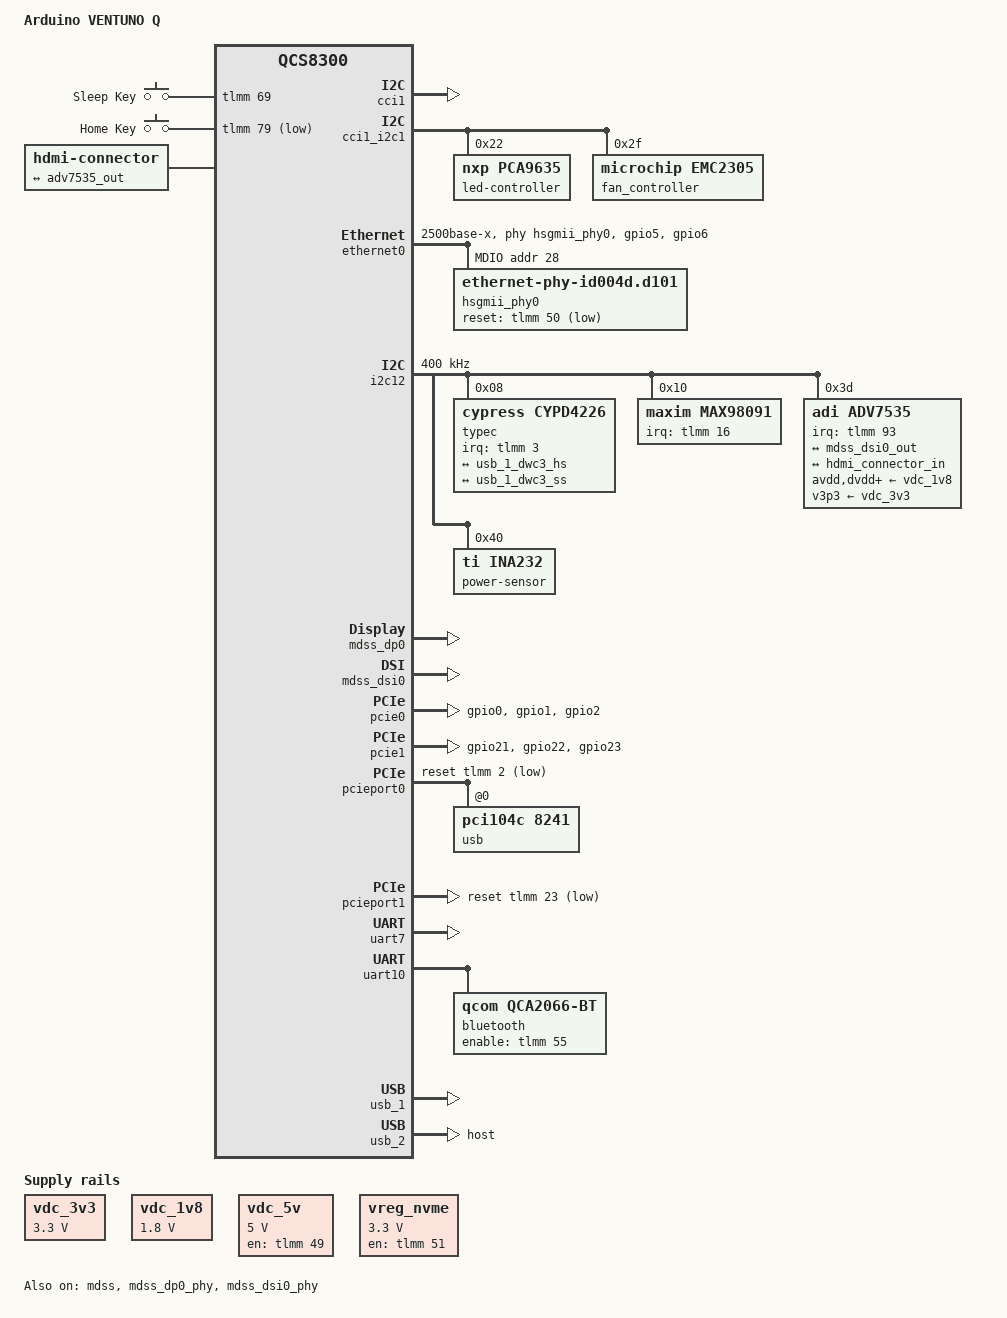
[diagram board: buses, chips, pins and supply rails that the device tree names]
// SPDX-License-Identifier: BSD-3-Clause
/*
 * Copyright (c) Qualcomm Technologies, Inc. and/or its subsidiaries.
 */

/dts-v1/;

#include <dt-bindings/gpio/gpio.h>
#include <dt-bindings/input/input.h>
#include <dt-bindings/leds/common.h>
#include <dt-bindings/pwm/pwm.h>
#include <dt-bindings/sound/qcom,q6dsp-lpass-ports.h>

#include "monaco-monza-som.dtsi"

/ {
	model = "Arduino VENTUNO Q";
	compatible = "arduino,monza", "qcom,qcs8300";

	aliases {
		ethernet0 = &ethernet0;
		i2c1 = &i2c1;
		serial0 = &uart7;
		serial1 = &uart10;
	};

	chosen {
		stdout-path = "serial0:115200n8";
	};

	gpio-keys {
		compatible = "gpio-keys";
		pinctrl-0 = <&gpio_keys_default>;
		pinctrl-names = "default";

		button-sleep {
			label = "Sleep Key";
			linux,code = <KEY_SLEEP>;
			gpios = <&tlmm 69 GPIO_ACTIVE_HIGH>;
			debounce-interval = <60>;
			wakeup-source;
		};

		button-home {
			label = "Home Key";
			linux,code = <KEY_HOMEPAGE>;
			gpios = <&tlmm 79 GPIO_ACTIVE_LOW>;
			debounce-interval = <60>;
		};
	};

	hdmi-connector {
		compatible = "hdmi-connector";
		label = "hdmi";
		type = "a";

		port {
			hdmi_connector_in: endpoint {
				remote-endpoint = <&adv7535_out>;
			};
		};
	};

	sound {
		compatible = "qcom,qcs8275-sndcard";
		model = "arduino-monza";
		audio-routing = "IN12",  "Headset Mic12",
				"Headset Mic12",  "MICBIAS",
				"IN56",  "Headset Mic56",
				"Headset Mic56",  "MICBIAS",
				"MIC1",  "MICBIAS",
				"Headphone",  "HPL",
				"Headphone",  "HPR",
				"Receiver",  "RCVL",
				"Receiver",  "RCVR",
				"Speaker",  "SPKL",
				"Speaker",  "SPKR";

		pinctrl-0 = <&quad_mi2s_active>, <&quad_mclk_active>,  <&lpi_i2s4_active>;
		pinctrl-names = "default";

		pri-i2s-playback-dai-link {
			link-name = "Analog Playback";

			codec {
				sound-dai = <&max98091>;
			};

			cpu {
				sound-dai = <&q6apmbedai 137>;
			};

			platform {
				sound-dai = <&q6apm>;
			};
		};

		pri-i2s-capture-dai-link {
			link-name = "Analog Capture";

			codec {
				sound-dai = <&max98091>;
			};

			cpu {
				sound-dai = <&q6apmbedai 138>;
			};

			platform {
				sound-dai = <&q6apm>;
			};
		};

		hdmi-mi2s-playback-dai-link {
			link-name = "HDMI Playback";

			codec {
				sound-dai = <&adv7535>;
			};

			cpu {
				sound-dai = <&q6apmbedai 145>;
			};

			platform {
				sound-dai = <&q6apm>;
			};
		};

		displayport-0-dai-link {
			link-name = "DisplayPort0 Playback";

			codec {
				sound-dai = <&mdss_dp0>;
			};

			cpu {
				sound-dai = <&q6apmbedai DISPLAY_PORT_RX_0>;
			};

			platform {
				sound-dai = <&q6apm>;
			};
		};
	};

	vdc_3v3: regulator-3v3 {
		compatible = "regulator-fixed";
		regulator-name = "vdc_3v3";
		regulator-min-microvolt = <3300000>;
		regulator-max-microvolt = <3300000>;
	};

	vdc_1v8: regulator-1v8 {
		compatible = "regulator-fixed";
		regulator-name = "vdc_1v8";
		regulator-min-microvolt = <1800000>;
		regulator-max-microvolt = <1800000>;
	};

	vdc_5v: regulator-5v0 {
		compatible = "regulator-fixed";
		regulator-name = "vdc_5v";
		regulator-min-microvolt = <5000000>;
		regulator-max-microvolt = <5000000>;
		gpio = <&tlmm 49 GPIO_ACTIVE_HIGH>;
		enable-active-high;
		regulator-always-on;
		startup-delay-us = <20000>;
	};

	vreg_nvme: regulator-3p3-m2 {
		compatible = "regulator-fixed";
		regulator-name = "vreg_m2_3p3";
		regulator-min-microvolt = <3300000>;
		regulator-max-microvolt = <3300000>;
		gpio = <&tlmm 51 GPIO_ACTIVE_HIGH>;
		enable-active-high;
		startup-delay-us = <20000>;
	};
};

&cci1 {
	status = "okay";
};

&cci1_i2c1 {
	led-controller@22 {
		compatible = "nxp,pca9635";
		reg = <0x22>;
		#address-cells = <1>;
		#size-cells = <0>;

		multi-led@0 {
			reg = <0>;
			color = <LED_COLOR_ID_RGB>;
			function = LED_FUNCTION_INDICATOR;
			function-enumerator = <1>;
			#address-cells = <1>;
			#size-cells = <0>;

			led@0 {
				reg = <0>;
				color = <LED_COLOR_ID_RED>;
			};

			led@1 {
				reg = <1>;
				color = <LED_COLOR_ID_GREEN>;
			};

			led@2 {
				reg = <2>;
				color = <LED_COLOR_ID_BLUE>;
			};
		};

		multi-led@1 {
			reg = <1>;
			color = <LED_COLOR_ID_RGB>;
			function = LED_FUNCTION_INDICATOR;
			function-enumerator = <2>;
			#address-cells = <1>;
			#size-cells = <0>;

			led@3 {
				reg = <3>;
				color = <LED_COLOR_ID_RED>;
			};

			led@4 {
				reg = <4>;
				color = <LED_COLOR_ID_GREEN>;
			};

			led@5 {
				reg = <5>;
				color = <LED_COLOR_ID_BLUE>;
			};
		};

		multi-led@2 {
			reg = <2>;
			color = <LED_COLOR_ID_RGB>;
			function = LED_FUNCTION_INDICATOR;
			function-enumerator = <3>;
			#address-cells = <1>;
			#size-cells = <0>;

			led@6 {
				reg = <6>;
				color = <LED_COLOR_ID_RED>;
			};

			led@7 {
				reg = <7>;
				color = <LED_COLOR_ID_GREEN>;
			};

			led@8 {
				reg = <8>;
				color = <LED_COLOR_ID_BLUE>;
			};
		};

		multi-led@3 {
			reg = <3>;
			color = <LED_COLOR_ID_RGB>;
			function = LED_FUNCTION_INDICATOR;
			function-enumerator = <4>;
			#address-cells = <1>;
			#size-cells = <0>;

			led@9 {
				reg = <9>;
				color = <LED_COLOR_ID_RED>;
			};

			led@a {
				reg = <10>;
				color = <LED_COLOR_ID_GREEN>;
			};

			led@b {
				reg = <11>;
				color = <LED_COLOR_ID_BLUE>;
			};
		};
	};

	fan_controller: fan-controller@2f {
		compatible = "microchip,emc2305";
		reg = <0x2f>;
		#address-cells = <1>;
		#size-cells = <0>;
		#pwm-cells = <3>;

		fan: fan@0 {
			reg = <0x0>;
			pwms = <&fan_controller 26000 PWM_POLARITY_INVERTED 1>;
			#cooling-cells = <2>;
		};
	};
};

&ethernet0 {
	phy-mode = "2500base-x";
	phy-handle = <&hsgmii_phy0>;

	pinctrl-0 = <&ethernet0_default>;
	pinctrl-names = "default";

	snps,mtl-rx-config = <&mtl_rx_setup>;
	snps,mtl-tx-config = <&mtl_tx_setup>;

	status = "okay";

	mdio {
		compatible = "snps,dwmac-mdio";
		#address-cells = <1>;
		#size-cells = <0>;

		hsgmii_phy0: ethernet-phy@1c {
			compatible = "ethernet-phy-id004d.d101";
			reg = <0x1c>;
			reset-gpios = <&tlmm 50 GPIO_ACTIVE_LOW>;
			reset-assert-us = <11000>;
			reset-deassert-us = <70000>;
		};
	};

	mtl_rx_setup: rx-queues-config {
		snps,rx-queues-to-use = <4>;
		snps,rx-sched-sp;

		queue0 {
			snps,dcb-algorithm;
			snps,map-to-dma-channel = <0x0>;
			snps,route-up;
			snps,priority = <0x1>;
		};

		queue1 {
			snps,dcb-algorithm;
			snps,map-to-dma-channel = <0x1>;
			snps,route-ptp;
		};

		queue2 {
			snps,avb-algorithm;
			snps,map-to-dma-channel = <0x2>;
			snps,route-avcp;
		};

		queue3 {
			snps,avb-algorithm;
			snps,map-to-dma-channel = <0x3>;
			snps,priority = <0xc>;
		};
	};

	mtl_tx_setup: tx-queues-config {
		snps,tx-queues-to-use = <4>;

		queue0 {
			snps,dcb-algorithm;
		};

		queue1 {
			snps,dcb-algorithm;
		};

		queue2 {
			snps,avb-algorithm;
			snps,send_slope = <0x1000>;
			snps,idle_slope = <0x1000>;
			snps,high_credit = <0x3e800>;
			snps,low_credit = <0xffc18000>;
		};

		queue3 {
			snps,avb-algorithm;
			snps,send_slope = <0x1000>;
			snps,idle_slope = <0x1000>;
			snps,high_credit = <0x3e800>;
			snps,low_credit = <0xffc18000>;
		};
	};
};

&i2c12 {
	clock-frequency = <400000>;

	status = "okay";

	typec@8 {
		compatible = "cypress,cypd4226";
		reg = <0x08>;
		pinctrl-0 = <&typec_default_state>;
		pinctrl-names = "default";
		interrupts-extended = <&tlmm 3 IRQ_TYPE_LEVEL_LOW>;

		#address-cells = <1>;
		#size-cells = <0>;

		connector@0 {
			compatible = "usb-c-connector";
			reg = <0>;
			label = "USB-C";
			data-role = "dual";
			power-role = "dual";

			ports {
				#address-cells = <1>;
				#size-cells = <0>;

				port@0 {
					reg = <0>;

					ucsi_hs_ccg_p0: endpoint {
						remote-endpoint = <&usb_1_dwc3_hs>;
					};
				};

				port@1 {
					reg = <1>;

					ucsi_ss_ccg_p0: endpoint {
						remote-endpoint = <&usb_1_dwc3_ss>;
					};
				};
			};
		};
	};

	max98091: audio-codec@10 {
		compatible = "maxim,max98091";
		reg = <0x10>;
		pinctrl-0 = <&max98091_default>;
		pinctrl-names = "default";
		interrupts-extended = <&tlmm 16 IRQ_TYPE_LEVEL_HIGH>; /* GPIO_16 */
		clocks = <&q6prmcc LPASS_CLK_ID_MCLK_3 LPASS_CLK_ATTRIBUTE_COUPLE_NO>;
		clock-names = "mclk";
		#sound-dai-cells = <0>;
	};

	adv7535: bridge@3d {
		compatible = "adi,adv7535";
		reg = <0x3d>;
		pinctrl-0 = <&adv7535_default>;
		pinctrl-names = "default";
		interrupts-extended = <&tlmm 93 IRQ_TYPE_EDGE_FALLING>;
		avdd-supply = <&vdc_1v8>;
		dvdd-supply = <&vdc_1v8>;
		pvdd-supply = <&vdc_1v8>;
		a2vdd-supply = <&vdc_1v8>;
		v3p3-supply = <&vdc_3v3>;
		v1p2-supply = <&vdc_1v8>;
		adi,dsi-lanes = <4>;
		#sound-dai-cells = <0>;

		ports {
			#address-cells = <1>;
			#size-cells = <0>;

			port@0 {
				reg = <0>;
				adv7535_in: endpoint {
					remote-endpoint = <&mdss_dsi0_out>;
				};
			};

			port@1 {
				reg = <1>;
				adv7535_out: endpoint {
					remote-endpoint = <&hdmi_connector_in>;
				};
			};
		};
	};

	power-sensor@40 {
		compatible = "ti,ina232";
		reg = <0x40>;
		shunt-resistor = <2000>;
	};
};

&mdss {
	status = "okay";
};

&mdss_dp0 {
	status = "okay";
};

&mdss_dp0_out {
	data-lanes = <0 1 2 3>;
	link-frequencies = /bits/ 64 <1620000000 2700000000 5400000000 8100000000>;
};

&mdss_dp0_phy {
	status = "okay";
};

&mdss_dsi0 {
	status = "okay";
};

&mdss_dsi0_out {
	remote-endpoint = <&adv7535_in>;
	data-lanes = <0 1 2 3>;
};

&mdss_dsi0_phy {
	status = "okay";
};

&pcie0 {
	pinctrl-0 = <&pcie0_default_state>;
	pinctrl-names = "default";

	vddpe-3v3-supply = <&vdc_3v3>;
};

&pcie1 {
	pinctrl-0 = <&pcie1_default_state>;
	pinctrl-names = "default";

	vddpe-3v3-supply = <&vreg_nvme>;
};

&pcieport0 {
	reset-gpios = <&tlmm 2 GPIO_ACTIVE_LOW>;

	pcie@0,0 {
		#address-cells = <3>;
		#size-cells = <2>;
		device_type = "pci";
		bus-range = <0x01 0xff>;
		ranges;
		reg = <0x010000 0x00 0x00 0x00 0x00>;

		pcie@2,0 {
			#address-cells = <3>;
			#size-cells = <2>;
			device_type = "pci";
			bus-range = <0x00 0xff>;
			ranges;
			reg = <0x021000 0x00 0x00 0x00 0x00>;

			usb@0 {
				compatible = "pci104c,8241";
				reg = <0 0 0 0 0>;
				ti,pwron-active-high;
			};
		};
	};
};

&pcieport1 {
	reset-gpios = <&tlmm 23 GPIO_ACTIVE_LOW>;
};

&thermal_zones {
	cpuss-0-0-thermal {
		trips {
			cpuss0_active0: cpuss-active0 {
				temperature = <50000>;
				hysteresis = <4000>;
				type = "active";
			};

			cpuss0_active1: cpuss-active1 {
				temperature = <60000>;
				hysteresis = <4000>;
				type = "active";
			};

			cpuss0_active2: cpuss-active2 {
				temperature = <70000>;
				hysteresis = <4000>;
				type = "active";
			};

			cpuss0_active3: cpuss-active3 {
				temperature = <80000>;
				hysteresis = <4000>;
				type = "active";
			};
		};

		cooling-maps {
			map-active0 {
				trip = <&cpuss0_active0>;
				cooling-device = <&fan 4 4>;
			};

			map-active1 {
				trip = <&cpuss0_active1>;
				cooling-device = <&fan 6 6>;
			};

			map-active2 {
				trip = <&cpuss0_active2>;
				cooling-device = <&fan 8 8>;
			};

			map-active3 {
				trip = <&cpuss0_active3>;
				cooling-device = <&fan 10 THERMAL_NO_LIMIT>;
			};
		};
	};
};

&tlmm {
	gpio-line-names = "", "", "", "", "",
			  "", "", "", "", "",
			  "JMISC_SPI_MISO", "JMISC_SPI_MOSI", "JMISC_SPI_SCK", "JMISC_SPI_CS0", "JMISC_SPI_CS1",
			  "JMISC_CS2", "", "JHAT_P03_I2C_SDA", "JHAT_P05_I2C_SCL", "JHAT_P27_EEPROM_SDA",
			  "JHAT_P28_EEPROM_SDL", "", "", "", "",
			  "JHAT_P21_SPI_MISO", "JHAT_P19_SPI_MOSI", "JHAT_P23_SPI_SCLK", "JHAT_P24_SPI_CE0", "",
			  "", "MCU_I2C1_SDA", "MCU_I2C1_SDL", "", "",
			  "", "", "JOMEGA_SPI_SCK", "JOMEGA_SPI_CS", "JOMEGA_SPI_MISO",
			  "JOMEGA_SPI_MOSI", "", "MCU_PG11", "JCTL_UART_DBG_TX", "JCTL_UART_DBG_RX",
			  "", "", "MCU_BOOT0", "CYPD_SWCLK", "",
			  "", "", "FORCE_USB_BOOT", "", "",
			  "", "", "JMEDIA_SOC_CC0_SDA", "JMEDIA_SOC_CC0_SCL", "JMEDIA_SOC_CC1_SDA",
			  "JMEDIA_SOC_CC1_SCL", "", "", "MCU_PG12", "",
			  "FLAT0_P17_GPIO", "", "JMEDIA_SOC_CAM_MCLK0", "JMEDIA_SOC_CAM_MCLK1", "MCU_PG9",
			  "MCU_PA13_SWDIO", "MCU_PA14_SWCLK", "", "JMISC_SOC_GPIO_0", "JMISC_SOC_GPIO_1",
			  "FLAT1_P17_GPIO", "", "JHAT_P32_PWM0", "MCU_NRST", "USER_BUTTON",
			  "JHAT_P31_GPIO", "JHAT_P33_GPIO",  "FLAT2_P17_GPIO", "JHAT_P07_GPCLK0", "JHAT_P36_UART_CTS",
			  "JHAT_P11_UART_RFR", "JHAT_P08_UART_TX", "JHAT_P10_UART_RX", "JHAT_P26_SPI_CE1", "JHAT_P29_GPIO",
			  "JHAT_P15_GPIO", "", "MCU_PG10", "", "CYPD_SWDIO",
			  "MCU_PG13", "MCU_PG14", "", "", "",
			  "", "", "", "", "CYPD_NRES",
			  "JHAT_P16_GPIO", "JHAT_P18_GPIO", "JHAT_P22_GPIO", "JHAT_P37_GPIO", "JHAT_P13_GPIO",
			  "", "", "", "", "",
			  "", "JHAT_P12_PCM_CLK", "JHAT_P35_PCM_FS", "JHAT_P38_PCM_DIN", "JHAT_P40_PCM_DOUT",
			  "", "", "", "", "",
			  "", "", "", "", "",
			  "", "", "";

	pcie0_default_state: pcie0-default-state {
		wake-pins {
			pins = "gpio0";
			function = "gpio";
			drive-strength = <2>;
			bias-pull-up;
		};

		clkreq-pins {
			pins = "gpio1";
			function = "pcie0_clkreq";
			drive-strength = <2>;
			bias-pull-up;
		};

		perst-pins {
			pins = "gpio2";
			function = "gpio";
			drive-strength = <2>;
			bias-pull-up;
		};
	};

	typec_default_state: typec-default-state {
		pins = "gpio3";
		function = "gpio";
		bias-disable;
	};

	ethernet0_default: ethernet0-default-state {
		ethernet0_mdc: ethernet0-mdc-pins {
			pins = "gpio5";
			function = "emac0_mdc";
			drive-strength = <16>;
			bias-pull-up;
		};

		ethernet0_mdio: ethernet0-mdio-pins {
			pins = "gpio6";
			function = "emac0_mdio";
			drive-strength = <16>;
			bias-pull-up;
		};
	};

	max98091_default: max98091-default-state {
		pins = "gpio16";
		function = "gpio";
		bias-pull-up;
	};

	pcie1_default_state: pcie1-default-state {
		wake-pins {
			pins = "gpio21";
			function = "gpio";
			drive-strength = <2>;
			bias-pull-up;
		};

		clkreq-pins {
			pins = "gpio22";
			function = "pcie1_clkreq";
			drive-strength = <2>;
			bias-pull-up;
		};

		perst-pins {
			pins = "gpio23";
			function = "gpio";
			drive-strength = <2>;
			bias-pull-up;
		};
	};

	gpio_keys_default: gpio-keys-default-state {
		horizontal-button-pins {
			pins = "gpio69";
			function = "gpio";
			bias-pull-down;
		};

		vertical-button-pins {
			pins = "gpio79";
			function = "gpio";
			bias-disable;
		};
	};

	adv7535_default: adv7535-default-state {
		pins = "gpio93";
		function = "gpio";
		bias-pull-up;
	};
};

&uart7 {
	status = "okay";
};

&uart10 {
	status = "okay";

	bluetooth: bluetooth {
		compatible = "qcom,qca2066-bt";
		enable-gpios = <&tlmm 55 GPIO_ACTIVE_HIGH>;
		clocks = <&sleep_clk>;
	};
};

&usb_1 {
	status = "okay";
};

&usb_1_dwc3_hs {
	remote-endpoint = <&ucsi_hs_ccg_p0>;
};

&usb_1_dwc3_ss {
	remote-endpoint = <&ucsi_ss_ccg_p0>;
};

/* Internally connected to the MCU (e.g. for DFU). */
&usb_2 {
	dr_mode = "host";

	status = "okay";
};
